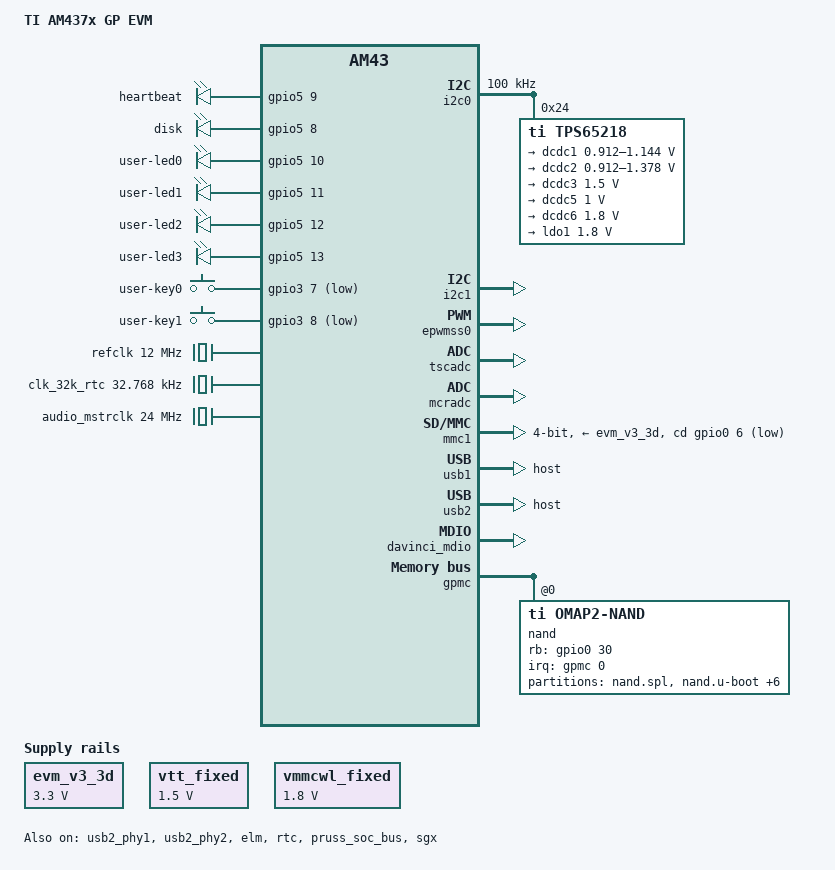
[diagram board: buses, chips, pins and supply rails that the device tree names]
/*
 * Copyright (C) 2015 GuangZhou Tronlong co., LTD - http://www.tronlong.com
 *
 * This program is free software; you can redistribute it and/or modify
 * it under the terms of the GNU General Public License version 2 as
 * published by the Free Software Foundation.
 */

/* Common device tree for TL437x-EasyEVM/TL437x-EVM/TL437xF-EVM */

/dts-v1/;

#include "am4372.dtsi"
#include <dt-bindings/pinctrl/am43xx.h>
#include <dt-bindings/pwm/pwm.h>
#include <dt-bindings/gpio/gpio.h>
#include <dt-bindings/input/input.h>

/ {
	model = "TI AM437x GP EVM";
	compatible = "ti,am437x-gp-evm","ti,am4372","ti,am43";

	chosen {
		stdout-path = &uart0;
	};

	evm_v3_3d: fixedregulator-v3_3d {
		compatible = "regulator-fixed";
		regulator-name = "evm_v3_3d";
		regulator-min-microvolt = <3300000>;
		regulator-max-microvolt = <3300000>;
		enable-active-high;
	};

	vtt_fixed: fixedregulator-vtt {
		compatible = "regulator-fixed";
		regulator-name = "vtt_fixed";
		regulator-min-microvolt = <1500000>;
		regulator-max-microvolt = <1500000>;
		regulator-always-on;
		regulator-boot-on;
		enable-active-high;
	};

	vmmcwl_fixed: fixedregulator-mmcwl {
		compatible = "regulator-fixed";
		regulator-name = "vmmcwl_fixed";
		regulator-min-microvolt = <1800000>;
		regulator-max-microvolt = <1800000>;
		enable-active-high;
	};

	leds {
		compatible = "gpio-leds";
		pinctrl-names = "default";
		pinctrl-0 = <&user_leds_default>;

		led@0 {
			label = "heartbeat";
			gpios = <&gpio5 9 GPIO_ACTIVE_HIGH>;
			linux,default-trigger = "heartbeat";
			default-state = "off";
		};

		led@1 {
			label = "disk";
			gpios = <&gpio5 8 GPIO_ACTIVE_HIGH>;
			linux,default-trigger = "nand-disk";
			default-state = "off";
		};

		led@2 {
			label = "user-led0";
			gpios = <&gpio5 10 GPIO_ACTIVE_HIGH>;
			default-state = "on";
		};

		led@3 {
			label = "user-led1";
			gpios = <&gpio5 11 GPIO_ACTIVE_HIGH>;
			default-state = "on";
		};

		led@4 {
			label = "user-led2";
			gpios = <&gpio5 12 GPIO_ACTIVE_HIGH>;
			default-state = "on";
		};

		led@5 {
			label = "user-led3";
			gpios = <&gpio5 13 GPIO_ACTIVE_HIGH>;
			default-state = "on";
		};
	};

	gpio_keys: user_keys@0 {
		compatible = "gpio-keys";
		#address-cells = <1>;
		#size-cells = <0>;
		autorepeat;

		pinctrl-names = "default";
		pinctrl-0 = <&user_keys_default>;

		button@0 {
			label = "user-key0";
			linux,code = <KEY_PROG1>;
			gpios = <&gpio3 7 GPIO_ACTIVE_LOW>;
			debounce-interval = <0>;
		};

		button@1 {
			label = "user-key1";
			linux,code = <KEY_PROG2>;
			gpios = <&gpio3 8 GPIO_ACTIVE_LOW>;
			debounce-interval = <0>;
		};
	};

	/* fixed 12MHz oscillator */
	refclk: oscillator {
		#clock-cells = <0>;
		compatible = "fixed-clock";
		clock-frequency = <12000000>;
	};

	/* fixed 32k external oscillator clock */
	clk_32k_rtc: clk_32k_rtc {
		#clock-cells = <0>;
		compatible = "fixed-clock";
		clock-frequency = <32768>;
	};

	audio_mstrclk: mclk_osc {
		compatible = "fixed-clock";
		#clock-cells = <0>;
		clock-frequency = <24000000>;
	};
};

&am43xx_pinmux {
	pinctrl-names = "default", "sleep";
	pinctrl-0 = <&clkout1_pin>;

	clkout1_pin: clkout1_pin {
		pinctrl-single,pins = <
			AM4372_IOPAD(0xa70, PIN_OUTPUT_PULLUP | MUX_MODE3)	/* xdma_event_intr0.clkout1 */
		>;
	};

	i2c0_pins: i2c0_pins {
		pinctrl-single,pins = <
			AM4372_IOPAD(0x988, PIN_INPUT_PULLUP | SLEWCTRL_FAST | MUX_MODE0)  /* i2c0_sda.i2c0_sda */
			AM4372_IOPAD(0x98c, PIN_INPUT_PULLUP | SLEWCTRL_FAST | MUX_MODE0)  /* i2c0_scl.i2c0_scl */
		>;
	};

	i2c1_pins: i2c1_pins {
		pinctrl-single,pins = <
			AM4372_IOPAD(0x95c, PIN_INPUT_PULLUP | SLEWCTRL_FAST | MUX_MODE2)  /* spi0_cs0.i2c1_scl */
			AM4372_IOPAD(0x958, PIN_INPUT_PULLUP | SLEWCTRL_FAST | MUX_MODE2)  /* spi0_d1.i2c1_sda  */
		>;
	};

	spi2_pins: spi2_pins {
		pinctrl-single,pins = <
			AM4372_IOPAD(0xa60, PIN_INPUT_PULLUP | MUX_MODE0)   /* spi2_sclk.spi2_sclk */
			AM4372_IOPAD(0xa64, PIN_INPUT_PULLUP | MUX_MODE0)   /* spi2_d0.spi2_d0 */
			AM4372_IOPAD(0xa68, PIN_INPUT_PULLUP | MUX_MODE0)   /* spi2_d1.spi2_d1 */
			AM4372_IOPAD(0xa6c, PIN_OUTPUT_PULLUP | MUX_MODE0)  /* spi2_cs0.spi2_cs0 */
		>;
	};

	mmc1_pins: pinmux_mmc1_pins {
		pinctrl-single,pins = <
			AM4372_IOPAD(0x960, PIN_INPUT | MUX_MODE7) /* spi0_cs1.gpio0_6 */
		>;
	};

	user_leds_default: user_leds_default {
		pinctrl-single,pins = <
			AM4372_IOPAD(0xa38, PIN_OUTPUT_PULLUP | MUX_MODE7)	/* gpio5_8.gpio5_8 */
			AM4372_IOPAD(0xa3c, PIN_OUTPUT_PULLUP | MUX_MODE7)	/* gpio5_9.gpio5_9 */
			AM4372_IOPAD(0xa40, PIN_OUTPUT_PULLUP | MUX_MODE7)	/* gpio5_10.gpio5_10 */
			AM4372_IOPAD(0xa44, PIN_OUTPUT_PULLUP | MUX_MODE7)	/* gpio5_11.gpio5_11 */
			AM4372_IOPAD(0xa48, PIN_OUTPUT_PULLUP | MUX_MODE7)	/* gpio5_12.gpio5_12 */
			AM4372_IOPAD(0xa4c, PIN_OUTPUT_PULLUP | MUX_MODE7)	/* gpio5_13.gpio5_13 */
		>;
	};

	user_keys_default: user_keys_default {
		pinctrl-single,pins = <
			AM4372_IOPAD(0xaa4, PIN_INPUT_PULLUP | MUX_MODE7)	/* emu0.gpio3_7 */
			AM4372_IOPAD(0xaa8, PIN_INPUT_PULLUP | MUX_MODE7)	/* emu1.gpio3_8 */
		>;
	};

	davinci_mdio_default: davinci_mdio_default {
		pinctrl-single,pins = <
			/* MDIO */
			AM4372_IOPAD(0x948, PIN_INPUT_PULLUP | SLEWCTRL_FAST | MUX_MODE0)	/* mdio_data.mdio_data */
			AM4372_IOPAD(0x94c, PIN_OUTPUT_PULLUP | MUX_MODE0)			/* mdio_clk.mdio_clk */
		>;
	};

	davinci_mdio_sleep: davinci_mdio_sleep {
		pinctrl-single,pins = <
			/* MDIO reset value */
			AM4372_IOPAD(0x948, PIN_INPUT_PULLDOWN | MUX_MODE7)
			AM4372_IOPAD(0x94c, PIN_INPUT_PULLDOWN | MUX_MODE7)
		>;
	};

	nand_flash_x8: nand_flash_x8 {
		pinctrl-single,pins = <
			AM4372_IOPAD(0x800, PIN_INPUT  | MUX_MODE0)	/* gpmc_ad0.gpmc_ad0 */
			AM4372_IOPAD(0x804, PIN_INPUT  | MUX_MODE0)	/* gpmc_ad1.gpmc_ad1 */
			AM4372_IOPAD(0x808, PIN_INPUT  | MUX_MODE0)	/* gpmc_ad2.gpmc_ad2 */
			AM4372_IOPAD(0x80c, PIN_INPUT  | MUX_MODE0)	/* gpmc_ad3.gpmc_ad3 */
			AM4372_IOPAD(0x810, PIN_INPUT  | MUX_MODE0)	/* gpmc_ad4.gpmc_ad4 */
			AM4372_IOPAD(0x814, PIN_INPUT  | MUX_MODE0)	/* gpmc_ad5.gpmc_ad5 */
			AM4372_IOPAD(0x818, PIN_INPUT  | MUX_MODE0)	/* gpmc_ad6.gpmc_ad6 */
			AM4372_IOPAD(0x81c, PIN_INPUT  | MUX_MODE0)	/* gpmc_ad7.gpmc_ad7 */
			AM4372_IOPAD(0x870, PIN_INPUT_PULLUP | MUX_MODE7)	/* gpmc_wait0.gpio0_30 */
			AM4372_IOPAD(0x874, PIN_OUTPUT_PULLUP | MUX_MODE7)	/* gpmc_wpn.gpmc_wpn */
			AM4372_IOPAD(0x87c, PIN_OUTPUT | MUX_MODE0)		/* gpmc_csn0.gpmc_csn0  */
			AM4372_IOPAD(0x890, PIN_OUTPUT | MUX_MODE0)		/* gpmc_advn_ale.gpmc_advn_ale */
			AM4372_IOPAD(0x894, PIN_OUTPUT | MUX_MODE0)		/* gpmc_oen_ren.gpmc_oen_ren */
			AM4372_IOPAD(0x898, PIN_OUTPUT | MUX_MODE0)		/* gpmc_wen.gpmc_wen */
			AM4372_IOPAD(0x89c, PIN_OUTPUT | MUX_MODE0)		/* gpmc_be0n_cle.gpmc_be0n_cle */
		>;
	};
};

&i2c0 {
	status = "okay";
	pinctrl-names = "default";
	pinctrl-0 = <&i2c0_pins>;
	clock-frequency = <100000>;

	tps65218: tps65218@24 {
		reg = <0x24>;
		compatible = "ti,tps65218";
		interrupts = <GIC_SPI 7 IRQ_TYPE_NONE>; /* NMIn */
		interrupt-controller;
		#interrupt-cells = <2>;

		dcdc1: regulator-dcdc1 {
			regulator-name = "vdd_core";
			regulator-min-microvolt = <912000>;
			regulator-max-microvolt = <1144000>;
			regulator-boot-on;
			regulator-always-on;
		};

		dcdc2: regulator-dcdc2 {
			regulator-name = "vdd_mpu";
			regulator-min-microvolt = <912000>;
			regulator-max-microvolt = <1378000>;
			regulator-boot-on;
			regulator-always-on;
		};

		dcdc3: regulator-dcdc3 {
			regulator-name = "vdcdc3";
			regulator-min-microvolt = <1500000>;
			regulator-max-microvolt = <1500000>;
			regulator-boot-on;
			regulator-always-on;
			regulator-state-mem {
				regulator-on-in-suspend;
			};
			regulator-state-disk {
				regulator-off-in-suspend;
			};
		};

		dcdc5: regulator-dcdc5 {
			regulator-name = "v1_0bat";
			regulator-min-microvolt = <1000000>;
			regulator-max-microvolt = <1000000>;
			regulator-boot-on;
			regulator-always-on;
			regulator-state-mem {
				regulator-on-in-suspend;
			};
		};

		dcdc6: regulator-dcdc6 {
			regulator-name = "v1_8bat";
			regulator-min-microvolt = <1800000>;
			regulator-max-microvolt = <1800000>;
			regulator-boot-on;
			regulator-always-on;
			regulator-state-mem {
				regulator-on-in-suspend;
			};
		};

		ldo1: regulator-ldo1 {
			regulator-min-microvolt = <1800000>;
			regulator-max-microvolt = <1800000>;
			regulator-boot-on;
			regulator-always-on;
		};
	};
};

&i2c1 {
	status = "okay";
	pinctrl-names = "default";
	pinctrl-0 = <&i2c1_pins>;
};

&epwmss0 {
	status = "okay";
};

&tscadc {
	status = "okay";

	adc {
		ti,adc-channels = <0 1 2 3 4 5 6 7>;
	};
};

&mcradc {
	status = "okay";

	adc {
		ti,adc-channels = <0 1 2 3 4 5 6 7>;
	};
};

&gpio0 {
	status = "okay";
};

&gpio1 {
	status = "okay";
};

&gpio2 {
	status = "okay";
};

&gpio3 {
	status = "okay";
};

&gpio4 {
	status = "okay";
};

&gpio5 {
	status = "okay";
};

&mmc1 {
	status = "okay";
	vmmc-supply = <&evm_v3_3d>;
	bus-width = <4>;
	pinctrl-names = "default";
	pinctrl-0 = <&mmc1_pins>;
	cd-gpios = <&gpio0 6 GPIO_ACTIVE_LOW>;
};

&usb2_phy1 {
	status = "okay";
};

&usb1 {
	dr_mode = "host";
	status = "okay";
};

&usb2_phy2 {
	status = "okay";
};

&usb2 {
	dr_mode = "host";
	status = "okay";
};

&davinci_mdio {
	pinctrl-names = "default", "sleep";
	pinctrl-0 = <&davinci_mdio_default>;
	pinctrl-1 = <&davinci_mdio_sleep>;
	status = "okay";
};

&elm {
	status = "okay";
};

&gpmc {
	status = "okay";
	pinctrl-names = "default";
	pinctrl-0 = <&nand_flash_x8>;
	ranges = <0 0 0x08000000 0x01000000>;	/* CS0 space. Min partition = 16MB */

	nand@0,0 {
		compatible = "ti,omap2-nand";
		reg = <0 0 4>;		/* device IO registers */
		interrupt-parent = <&gpmc>;
		interrupts = <0 IRQ_TYPE_NONE>, /* fifoevent */
			     <1 IRQ_TYPE_NONE>;	/* termcount */
		rb-gpios = <&gpio0 30 GPIO_ACTIVE_HIGH>;	/* gpio0_30 */
		ti,nand-xfer-type = "prefetch-dma";
		ti,nand-ecc-opt = "bch16";
		ti,elm-id = <&elm>;
		nand-bus-width = <8>;
		gpmc,device-width = <1>;
		gpmc,sync-clk-ps = <0>;
		gpmc,cs-on-ns = <0>;
		gpmc,cs-rd-off-ns = <40>;
		gpmc,cs-wr-off-ns = <40>;
		gpmc,adv-on-ns = <0>;
		gpmc,adv-rd-off-ns = <25>;
		gpmc,adv-wr-off-ns = <25>;
		gpmc,we-on-ns = <0>;
		gpmc,we-off-ns = <20>;
		gpmc,oe-on-ns = <3>;
		gpmc,oe-off-ns = <30>;
		gpmc,access-ns = <30>;
		gpmc,rd-cycle-ns = <40>;
		gpmc,wr-cycle-ns = <40>;
		gpmc,bus-turnaround-ns = <0>;
		gpmc,cycle2cycle-delay-ns = <0>;
		gpmc,clk-activation-ns = <0>;
		gpmc,wr-access-ns = <40>;
		gpmc,wr-data-mux-bus-ns = <0>;
		/* MTD partition table */
		/* All SPL-* partitions are sized to minimal length
		 * which can be independently programmable. For
		 * NAND flash this is equal to size of erase-block */
		#address-cells = <1>;
		#size-cells = <1>;
		partition@0 {
			label = "nand.spl";
			reg = <0x00000000 0x00080000>;	/* 512KB */
		};
		partition@1 {
			label = "nand.u-boot";
			reg = <0x00080000 0x00100000>;	/* 1MB */
		};
		partition@2 {
			label = "nand.env";
			reg = <0x00180000 0x00080000>;	/* 512KB */
		};
		partition@3 {
			label = "nand.devicetree";
			reg = <0x00200000 0x00080000>;	/* 512KB */
		};
		partition@4 {
			label = "nand.kernel";
			reg = <0x00280000 0x00400000>;	/* 4MB */
		};
		partition@5 {
			label = "nand.logo";
			reg = <0x00680000 0x00200000>;	/* 2MB */
		};
		partition@6 {
			label = "nand.mini-fs";
			reg = <0x00880000 0x02000000>;	/* 32MB */
		};
		partition@7 {
			label = "nand.rootfs";
			reg = <0x02880000 0x00000000>;	/* 471MB */
		};
	};
};

&rtc {
	clocks = <&clk_32k_rtc>, <&clk_32768_ck>;
	clock-names = "ext-clk", "int-clk";
	status = "okay";
};

&cpu {
	cpu0-supply = <&dcdc2>;
};

&wkup_m3_ipc {
	ti,set-io-isolation;
	ti,scale-data-fw = "am43x-evm-scale-data.bin";
};

&pruss_soc_bus {
	status = "okay";

	pruss1: pruss@54400000 {
		status = "okay";

		pru1_0: pru@54434000 {
			status = "okay";
		};

		pru1_1: pru@54438000 {
			status = "okay";
		};
	};

	pruss0: pruss@54440000 {
		status = "okay";

		pru0_0: pru@54474000 {
			status = "okay";
		};

		pru0_1: pru@54478000 {
			status = "okay";
		};
	};
};

&sgx {
	status = "okay";
};
